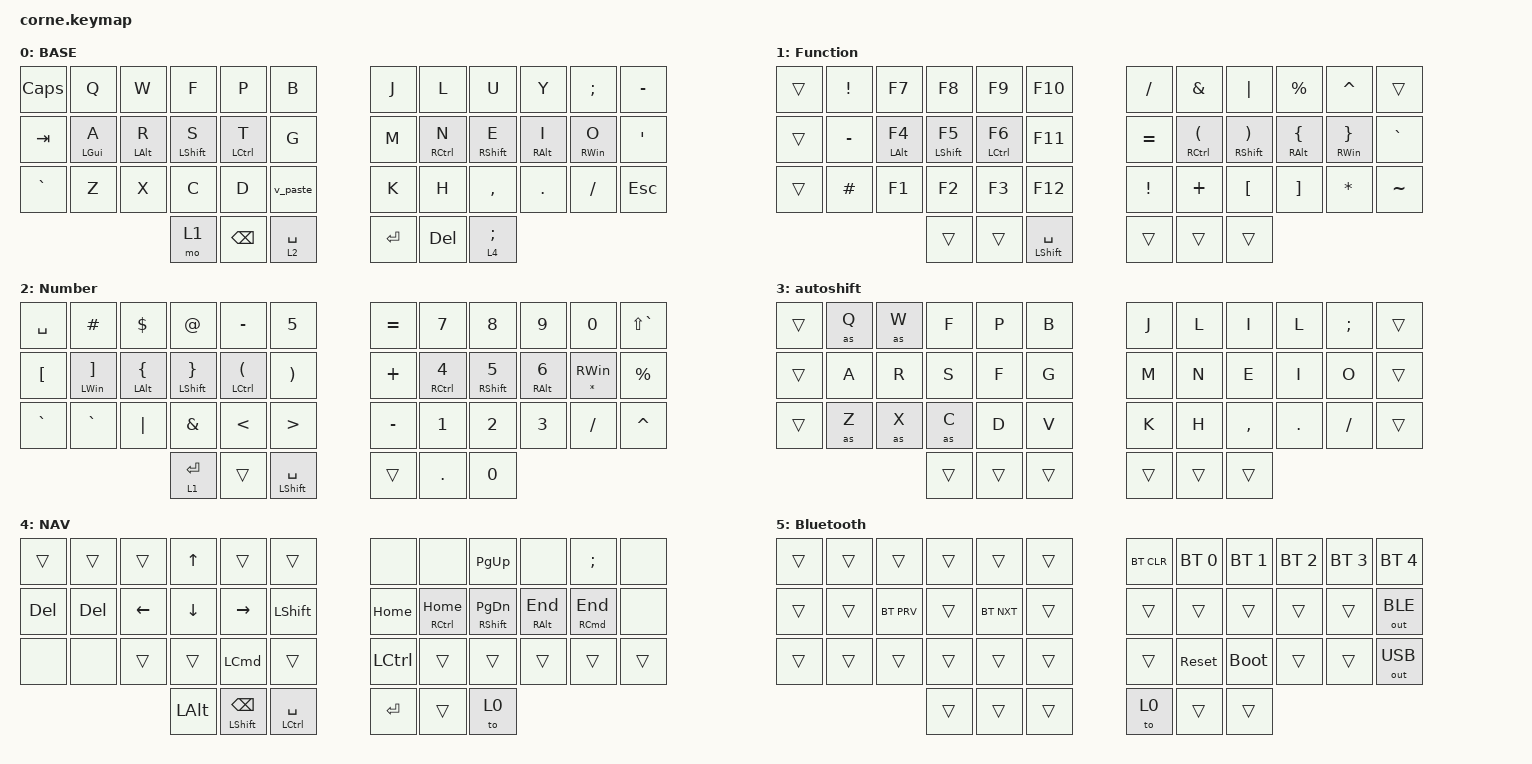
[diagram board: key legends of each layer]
#include <behaviors.dtsi>
#include <dt-bindings/zmk/bt.h>
#include <dt-bindings/zmk/keys.h>
#include <dt-bindings/zmk/outputs.h>
#include <dt-bindings/zmk/rgb.h>

// dt-formatter: indent = "  "
// dt-formatter: multilineIntegerCellsIndent = "reindent"
// dt-formatter: multilineListCommaStyle = "leading"

&sk { /delete-property/ ignore-modifiers; };

/ {
  combos {
    compatible = "zmk,combos";

    tab {
      key-positions = <2 3>;
      bindings = <&kp TAB>;
    };

    exclamation {
      key-positions = <8 9>;
      bindings = <&kp EXCLAMATION>;
    };

    caps_word {
      key-positions = <17 18>;
      bindings = <&caps_word>;
    };

    delete {
      key-positions = <32 33>;
      bindings = <&kp DEL>;
    };

    copy {
      bindings = <&kp K_COPY>;
      key-positions = <4 3>;
    };

    cut {
      bindings = <&kp K_CUT>;
      key-positions = <16 15>;
      layers = <0>;
    };

    paste {
      bindings = <&kp K_PASTE>;
      key-positions = <28 27>;
    };

    doubleShift {
      bindings = <&key_repeat>;
      key-positions = <15 20>;
      layers = <0>;
    };
  };

  macros {
    shift: with_lshift {
      compatible = "zmk,behavior-macro-one-param";
      #binding-cells = <1>;
      label = "KEY_PRESS_WITH_LEFT_SHIFT_MODIFIER";
      bindings
        = <&macro_press>
        , <&kp LSHFT>
        , <&macro_tap>
        , <&macro_param_1to1 &kp MACRO_PLACEHOLDER>
        , <&macro_release>
        , <&kp LSHFT>
        ;
    };

    as: autoshift {
      compatible = "zmk,behavior-macro-one-param";
      #binding-cells = <1>;
      label = "AUTOSHIFT_KEYPRESS";
      bindings
        = <&macro_press>
        , <&macro_param_1to1 &macro_param_1to2 &as_ht MACRO_PLACEHOLDER MACRO_PLACEHOLDER>
        , <&macro_pause_for_release>
        , <&macro_release>
        , <&macro_param_1to1 &macro_param_1to2 &as_ht MACRO_PLACEHOLDER MACRO_PLACEHOLDER>
        ;
    };
  };

  behaviors {
    as_ht: autoshift_hold_tap {
      compatible = "zmk,behavior-hold-tap";
      #binding-cells = <2>;
      label = "AUTOSHIFT_HOLD_TAP";
      bindings = <&shift>, <&kp>;

      tapping-term-ms = <190>;
    };

    hml: homewrow_mods_left {
      compatible = "zmk,behavior-hold-tap";
      #binding-cells = <2>;
      label = "HOMEROW_MODS_LEFT_HAND";
      bindings = <&kp>, <&kp>;

      tapping-term-ms = <200>;
      hold-trigger-key-positions = <6 7 8 9 10 11 18 19 20 21 22 23 30 31 32 33 34 35 39 40 41>;
      flavor = "tap-preferred";
    };

    hmr: homewrow_mods_right {
      compatible = "zmk,behavior-hold-tap";
      #binding-cells = <2>;
      label = "HOMEROW_MODS_RIGHT_HAND";
      bindings = <&kp>, <&kp>;

      tapping-term-ms = <200>;
      hold-trigger-key-positions = <0 1 2 3 4 5 12 13 14 15 16 17 24 25 26 27 28 29 36 37 38>;
      flavor = "tap-preferred";
    };

    capdance: capdance {
      compatible = "zmk,behavior-tap-dance";
      label = "CAPDANCE";
      #binding-cells = <0>;
      bindings = <&caps_word>, <&kp CAPS>;
    };

    volknob: volume_encoder {
      compatible = "zmk,behavior-sensor-rotate";
      label = "ENCODER_VOLUME_KNOB";
      #sensor-binding-cells = <0>;
      bindings = <&kp C_VOL_UP>, <&kp C_VOL_DN>;
    };

    rgbknob: rgb_encoder {
      compatible = "zmk,behavior-sensor-rotate-var";
      label = "ENCODER_RGB";
      #sensor-binding-cells = <2>;
      bindings = <&rgb_ug>, <&rgb_ug>;
    };

    jc: jc {
      compatible = "zmk,behavior-tap-dance";
      label = "JC";
      #binding-cells = <0>;
      bindings = <&kp J>, <&kp K_COPY>;
    };

    mc: mc {
      compatible = "zmk,behavior-tap-dance";
      label = "MC";
      #binding-cells = <0>;
      bindings = <&kp M>, <&kp K_CUT>;
    };

    kpa: kpa {
      compatible = "zmk,behavior-tap-dance";
      label = "KPA";
      #binding-cells = <0>;
      bindings = <&kp K>, <&kp K_PASTE>;
    };

    v_paste: v_paste {
      compatible = "zmk,behavior-tap-dance";
      label = "V_PASTE";
      #binding-cells = <0>;
      bindings = <&kp V>, <&kp K_PASTE>;
    };
  };

  conditional_layers {
    compatible = "zmk,conditional-layers";

    BT {
      if-layers = <2 1>;
      then-layer = <5>;
    };
  };

  keymap {
    compatible = "zmk,keymap";

    base {
      label = "BASE";
      bindings = <
        &kp CAPSLOCK  &kp Q        &kp W            &kp F              &kp P          &kp B          &kp J    &kp L         &kp U               &kp Y        &kp SEMI     &kp MINUS
        &kp TAB       &hml LGUI A  &hml LEFT_ALT R  &hml LEFT_SHIFT S  &hml LCTRL T   &kp G          &kp M    &hmr RCTRL N  &hmr RIGHT_SHIFT E  &hmr RALT I  &hmr RWIN O  &kp SINGLE_QUOTE
        &kp GRAVE     &kp Z        &kp X            &kp C              &kp D          &v_paste       &kp K    &kp H         &kp COMMA           &kp DOT      &kp FSLH     &kp ESC
                                                    &mo 1              &kp BACKSPACE  &lt 2 SPACE    &kp RET  &kp DELETE    &lt 4 SEMICOLON
      >;
    };

    Function {
      label = "Function";
      bindings = <
        &trans  &kp EXCL   &kp F7            &kp F8              &kp F9         &kp F10                 &kp SLASH        &kp AMPS                     &kp PIPE                            &kp PERCENT           &kp CARET              &trans
        &trans  &kp MINUS  &hml LEFT_ALT F4  &hml LEFT_SHIFT F5  &hml LCTRL F6  &kp F11                 &kp EQUAL        &hmr RCTRL LEFT_PARENTHESIS  &hmr RIGHT_SHIFT RIGHT_PARENTHESIS  &hml RALT LEFT_BRACE  &hmr RWIN RIGHT_BRACE  &kp GRAVE
        &trans  &kp HASH   &kp F1            &kp F2              &kp F3         &kp F12                 &kp EXCLAMATION  &kp PLUS                     &kp LEFT_BRACKET                    &kp RIGHT_BRACKET     &kp ASTERISK           &kp TILDE
                                             &trans              &trans         &mt LEFT_SHIFT SPACE    &trans           &trans                       &trans
      >;
    };

    Number {
      label = "Number";
      bindings = <
        &kp SPACE         &kp HASH                 &kp DOLLAR                &kp AT_SIGN                  &kp MINUS                    &kp N5                   &kp EQUAL  &kp N7               &kp N8               &kp N9                   &kp N0              &kp LS(GRAVE)
        &kp LEFT_BRACKET  &hml LWIN RIGHT_BRACKET  &hml LEFT_ALT LEFT_BRACE  &hml LEFT_SHIFT RIGHT_BRACE  &hml LCTRL LEFT_PARENTHESIS  &kp RIGHT_PARENTHESIS    &kp PLUS   &hmr RCTRL NUMBER_4  &hmr RIGHT_SHIFT N5  &hmr RIGHT_ALT NUMBER_6  &hmr ASTERISK RWIN  &kp PERCENT
        &kp GRAVE         &kp GRAVE                &kp PIPE                  &kp AMPERSAND                &kp LESS_THAN                &kp GREATER_THAN         &kp MINUS  &kp N1               &kp N2               &kp N3                   &kp SLASH           &kp CARET
                                                                             &lt 1 ENTER                  &trans                       &mt LEFT_SHIFT SPACE     &trans     &kp PERIOD           &kp N0
      >;
    };

    autoshift {
      bindings = <
        &trans  &as Q  &as W  &kp F   &kp P   &kp B     &kp J   &kp L   &kp I      &kp L       &kp SEMICOLON  &trans
        &trans  &kp A  &kp R  &kp S   &kp F   &kp G     &kp M   &kp N   &kp E      &kp I       &kp O          &trans
        &trans  &as Z  &as X  &as C   &kp D   &kp V     &kp K   &kp H   &kp COMMA  &kp PERIOD  &kp SLASH      &trans
                              &trans  &trans  &trans    &trans  &trans  &trans
      >;
    };

    NAV {
      label = "NAV";
      bindings = <
        &trans   &trans   &trans          &kp UP_ARROW  &trans                    &trans             &none      &none            &kp PG_UP                  &none               &kp SEMICOLON  &none
        &kp DEL  &kp DEL  &kp LEFT_ARROW  &kp DOWN      &kp RIGHT_ARROW           &kp LEFT_SHIFT     &kp HOME   &hmr RCTRL HOME  &mt RIGHT_SHIFT PAGE_DOWN  &hmr RIGHT_ALT END  &mt RCMD END   &none
        &none    &none    &trans          &trans        &kp LCMD                  &trans             &kp LCTRL  &trans           &trans                     &trans              &trans         &trans
                                          &kp LEFT_ALT  &mt LEFT_SHIFT BACKSPACE  &mt LCTRL SPACE    &kp ENTER  &trans           &to 0
      >;
    };

    Bluetooth {
      bindings = <
        &trans  &trans  &trans      &trans  &trans      &trans    &bt BT_CLR  &bt BT_SEL 0  &bt BT_SEL 1  &bt BT_SEL 2  &bt BT_SEL 3  &bt BT_SEL 4
        &trans  &trans  &bt BT_PRV  &trans  &bt BT_NXT  &trans    &trans      &trans        &trans        &trans        &trans        &out OUT_BLE
        &trans  &trans  &trans      &trans  &trans      &trans    &trans      &sys_reset    &bootloader   &trans        &trans        &out OUT_USB
                                    &trans  &trans      &trans    &to 0       &trans        &trans
      >;

      label = "Bluetooth";
    };
  };
};
